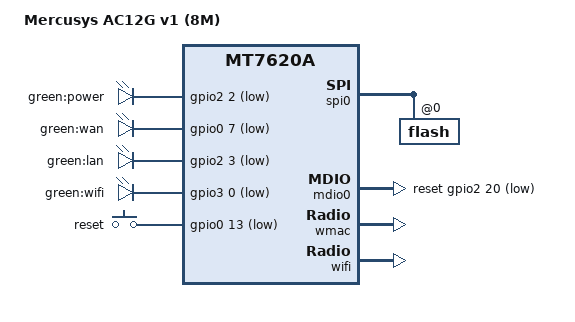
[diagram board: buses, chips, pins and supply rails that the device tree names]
// SPDX-License-Identifier: GPL-2.0-or-later OR MIT

#include "mt7620a_tplink_archer.dtsi"

/ {
	compatible = "mercusys,ac12g-v1-8m", "ralink,mt7620a-soc";
	model = "Mercusys AC12G v1 (8M)";

	aliases {
		led-boot = &led_power;
		led-failsafe = &led_power;
		led-running = &led_power;
		led-upgrade = &led_power;
		label-mac-device = &ethernet;
	};

	leds {
		compatible = "gpio-leds";

		led_power: power {
			label = "green:power";
			gpios = <&gpio2 2 GPIO_ACTIVE_LOW>;
		};

		wan {
			label = "green:wan";
			gpios = <&gpio0 7 GPIO_ACTIVE_LOW>;
		};

		lan {
			label = "green:lan";
			gpios = <&gpio2 3 GPIO_ACTIVE_LOW>;
		};

		wifi {
			label = "green:wifi";
			gpios = <&gpio3 0 GPIO_ACTIVE_LOW>;
			linux,default-trigger = "phy1tpt";
		};
	};

	/delete-node/ keys;

	keys {
		compatible = "gpio-keys";

		reset {
			label = "reset";
			gpios = <&gpio0 13 GPIO_ACTIVE_LOW>;
			linux,code = <KEY_RESTART>;
		};
	};

	rtl8367s {
		compatible = "realtek,rtl8367b";
		realtek,extif = <7 1 0 1 1 1 1 1 1 2>;
		mii-bus = <&mdio0>;
		phy-id = <29>;
	};
};

&spi0 {
	flash@0 {
		#address-cells = <1>;
		#size-cells = <1>;
	};
};

&state_default {
	gpio {
		groups = "i2c", "uartf", "ephy", "rgmii2";
		function = "gpio";
	};
};

&ethernet {
	pinctrl-names = "default";
	pinctrl-0 = <&rgmii1_pins &mdio_pins>;

	nvmem-cells = <&macaddr_rom_f100>;
	nvmem-cell-names = "mac-address";

	port@5 {
		status = "okay";
		mediatek,fixed-link = <1000 1 1 1>;
		phy-mode = "rgmii";
	};

	mdio0: mdio-bus {
		status = "okay";
		reset-gpios = <&gpio2 20 GPIO_ACTIVE_LOW>;
		reset-delay-us = <10000>;
	};
};

&ehci {
	status = "disabled";
};

&ohci {
	status = "disabled";
};

&wmac {
	pinctrl-names = "default", "pa_gpio";
	pinctrl-0 = <&pa_pins>;
	pinctrl-1 = <&pa_gpio_pins>;

	nvmem-cells = <&macaddr_rom_f100>;
	nvmem-cell-names = "mac-address";
};

&wifi {
	nvmem-cells = <&macaddr_rom_f100>;
	nvmem-cell-names = "mac-address";
};
